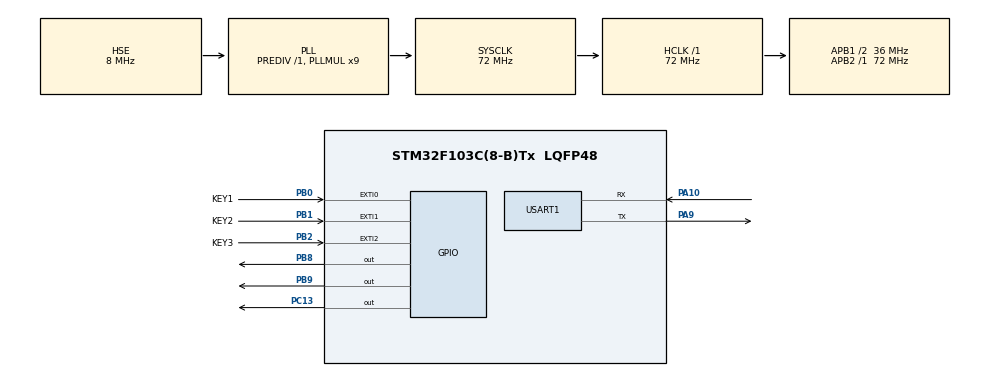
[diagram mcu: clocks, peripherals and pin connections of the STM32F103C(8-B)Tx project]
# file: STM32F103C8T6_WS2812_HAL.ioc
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Mcu.Family=STM32F1
Mcu.Name=STM32F103C(8-B)Tx
Mcu.Package=LQFP48
NVIC.EXTI0_IRQn=true\:0\:0\:false\:false\:true\:true\:true\:true
NVIC.EXTI1_IRQn=true\:0\:0\:false\:false\:true\:true\:true\:true
NVIC.EXTI2_IRQn=true\:0\:0\:false\:false\:true\:true\:true\:true
NVIC.PriorityGroup=NVIC_PRIORITYGROUP_4
PA10.Mode=Asynchronous
PA10.Signal=USART1_RX
PA9.Mode=Asynchronous
PA9.Signal=USART1_TX
PB0.GPIO_Label=KEY1
PB0.GPIO_ModeDefaultEXTI=GPIO_MODE_IT_FALLING
PB0.GPIO_PuPd=GPIO_PULLUP
PB0.Signal=GPXTI0
PB1.GPIO_Label=KEY2
PB1.GPIO_ModeDefaultEXTI=GPIO_MODE_IT_FALLING
PB1.GPIO_PuPd=GPIO_PULLUP
PB1.Signal=GPXTI1
PB2.GPIO_Label=KEY3
PB2.GPIO_ModeDefaultEXTI=GPIO_MODE_IT_FALLING
PB2.GPIO_PuPd=GPIO_PULLUP
PB2.Signal=GPXTI2
PB8.GPIO_PuPd=GPIO_PULLUP
PB8.GPIO_Speed=GPIO_SPEED_FREQ_HIGH
PB8.PinState=GPIO_PIN_SET
PB8.Signal=GPIO_Output
PB9.GPIO_PuPd=GPIO_PULLUP
PB9.GPIO_Speed=GPIO_SPEED_FREQ_HIGH
PB9.PinState=GPIO_PIN_SET
PB9.Signal=GPIO_Output
PC13-TAMPER-RTC.Signal=GPIO_Output
PD0-OSC_IN.Mode=HSE-External-Oscillator
PD0-OSC_IN.Signal=RCC_OSC_IN
PD1-OSC_OUT.Mode=HSE-External-Oscillator
PD1-OSC_OUT.Signal=RCC_OSC_OUT
ProjectManager.HeapSize=0x200
ProjectManager.StackSize=0x400
ProjectManager.TargetToolchain=MDK-ARM V5.32
RCC.AHBFreq_Value=72000000
RCC.APB1CLKDivider=RCC_HCLK_DIV2
RCC.APB1Freq_Value=36000000
RCC.APB1TimFreq_Value=72000000
RCC.APB2Freq_Value=72000000
RCC.APB2TimFreq_Value=72000000
RCC.HCLKFreq_Value=72000000
RCC.PLLMUL=RCC_PLL_MUL9
RCC.PLLSourceVirtual=RCC_PLLSOURCE_HSE
RCC.SYSCLKFreq_VALUE=72000000
RCC.SYSCLKSource=RCC_SYSCLKSOURCE_PLLCLK
RCC.USBFreq_Value=72000000
USART1.VirtualMode=VM_ASYNC
VP_SYS_VS_ND.Mode=No_Debug
board=custom

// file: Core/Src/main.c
/* USER CODE BEGIN Header */
/**
  ******************************************************************************
  * @file           : main.c
  * @brief          : Main program body
  ******************************************************************************
  * @attention
  *
  * Copyright (c) 2025 STMicroelectronics.
  * All rights reserved.
  *
  * This software is licensed under terms that can be found in the LICENSE file
  * in the root directory of this software component.
  * If no LICENSE file comes with this software, it is provided AS-IS.
  *
  ******************************************************************************
  */
/* USER CODE END Header */
#include "main.h"
#include "usart.h"
#include "gpio.h"

/* USER CODE BEGIN Includes */
#include "stdio.h"
#include <stdint.h>  // 使用uint8_t需包含的头文件
#include <stdlib.h>  // abs函数的头文件
#include <string.h>  // memset函数的标准头文件
/* USER CODE END Includes */

/* USER CODE BEGIN PTD */
// 针对32位无符号整数的别名
typedef uint32_t   u32;///32
typedef uint16_t   u16;///16
typedef uint8_t     u8;///8
/* USER CODE END PTD */

/* USER CODE BEGIN PD */
#define SCROLL_SPEED 100  //滚动速度（ms），值越小越快

// 宏定义颜色索引（对应8种颜色，便于调用）
#define COLOR_BLACK    0//// 黑色
#define COLOR_RED      1//// 红色
#define COLOR_GREEN    2//// 绿色
#define COLOR_BLUE     3//// 蓝色
#define COLOR_YELLOW   4//// 黄色
#define COLOR_PURPLE   5//// 紫色
#define COLOR_CYAN     6//// 青色
#define COLOR_WHITE    7//// 白色
/* USER CODE END PD */

/* USER CODE BEGIN PM */

char running_mode_str[20];  //显示模式字符串的存放数组

// 定义WS2812的GPIO端口/引脚全局变量，可在初始化函数中修改
GPIO_TypeDef *RGB_GPIO_PORT = GPIOB;    // 默认端口：GPIOB
uint16_t RGB_GPIO_PIN = GPIO_PIN_9;     // 默认引脚：PIN9

uint8_t target_leds[] = {0, 2, 5};  // 需要点亮的灯珠索引
uint8_t arr_len = sizeof(target_leds)/sizeof(target_leds[0]); // 数组长度（3）
uint8_t total_led = 8; // 假设总共有8个灯珠

uint8_t rainbow_running_flag = 0;  // 0=停止，1=运行
uint8_t rainbow_running_mode = 0;    //共有五种显示模式，0-4

// 定义8组RGB颜色数组（uint8_t类型，取值0x00~0xFF）
uint8_t rgb_color_array[8][3] = {
	{0x00, 0x00, 0x00},  //// 黑色
	{0xFF, 0x00, 0x00},  //// 红色
	{0x00, 0xFF, 0x00},  //// 绿色
	{0x00, 0x00, 0xFF},  //// 蓝色
	{0xFF, 0xFF, 0x00},  //// 黄色
	{0xFF, 0x00, 0xFF},  //// 紫色
	{0x00, 0xFF, 0xFF},  //// 青色
	{0xFF, 0xFF, 0xFF}   //// 白色
};

// 定义“灯珠索引+颜色”的结构体
typedef struct {
	uint8_t idx;    // 灯珠索引
	uint8_t red;    // 红色值
	uint8_t green;  // 绿色值
	uint8_t blue;   // 蓝色值
} LED_Color;

/* USER CODE END PM */

void SystemClock_Config(void);

/* USER CODE BEGIN 0 */
void delay_nus(u32 nus)  //72MHz晶振下的us级精确延时
{
	uint32_t Delay = nus * 10;
	do
  {
		__NOP();
   }
	while(Delay --);

}
/* USER CODE END PFP */

/* Private user code ---------------------------------------------------------*/
/* USER CODE BEGIN 0 */
//向WS2812写入1个字节（8位），严格匹配时序
void RGB_WriteByte(uint8_t in_data)
{
	uint8_t n = 0;
	uint8_t y = 0,z = 0;
	n = in_data;
	for(y = 0;y < 8;y++)
	{
		z = ((n<<y)&0x80);
		if(z)
		{
			HAL_GPIO_WritePin(RGB_GPIO_PORT,RGB_GPIO_PIN,GPIO_PIN_SET);
			delay_nus(2);
			HAL_GPIO_WritePin(RGB_GPIO_PORT,RGB_GPIO_PIN,GPIO_PIN_RESET);
			__nop();  // 1码

		}
		else
		{
			HAL_GPIO_WritePin(RGB_GPIO_PORT,RGB_GPIO_PIN,GPIO_PIN_SET);
			__nop();    //
			HAL_GPIO_WritePin(RGB_GPIO_PORT,RGB_GPIO_PIN,GPIO_PIN_RESET);
			delay_nus(2);  // 0码
		}
	}
}

/*  指定单个灯珠设置颜色（其余灯珠默认黑色） */
void RGB_ColorSet(uint8_t led_idx, uint8_t total_led, uint8_t t_red, uint8_t t_green, uint8_t t_blue)
{
	// 边界检查：防止灯珠索引越界
	if(led_idx >= total_led) return;
	// 步骤1：逐灯珠写入数据（WS2812需遍历所有灯珠）
	for(uint8_t i=0; i<total_led; i++)
	{
		if(i == led_idx)
		{
			// 目标灯珠：写入指定颜色（GRB顺序）
			RGB_WriteByte(t_green);  // 绿
			RGB_WriteByte(t_red);    // 红
			RGB_WriteByte(t_blue);   // 蓝
		}
		else
		{
			// 非目标灯珠：写入黑色（默认熄灭）
			RGB_WriteByte(0x00);
			RGB_WriteByte(0x00);
			RGB_WriteByte(0x00);
		}
	}
	// 步骤2：发送WS2812复位信号（必需，低电平≥280us）
	HAL_GPIO_WritePin(RGB_GPIO_PORT, RGB_GPIO_PIN, GPIO_PIN_RESET);
	delay_nus(300);  // 300us > 280us，确保复位成功
}

/*同时点亮的灯：指定多个灯珠索引，同时设置颜色（其余熄灭）*/
void RGB_MultiSameColorSet(uint8_t *led_idx_arr, uint8_t arr_len, uint8_t total_led,
                           uint8_t t_red, uint8_t t_green, uint8_t t_blue)
{
	// 遍历所有灯珠
	for(uint8_t i=0; i<total_led; i++)
	{
		uint8_t is_target = 0; // 标记当前灯珠是否是目标灯珠
		// 检查当前灯珠i是否在“需要点亮的索引数组”中
		for(uint8_t j=0; j<arr_len; j++)
		{
			if(i == led_idx_arr[j])
			{
					is_target = 1;
					break;
			}
		}

		if(is_target)
		{
			// 目标灯珠：写入指定颜色（WS2812是GRB顺序）
			RGB_WriteByte(t_green);
			RGB_WriteByte(t_red);
			RGB_WriteByte(t_blue);
		}
		else
		{
			// 非目标灯珠：写入黑色（熄灭）
			RGB_WriteByte(0x00);
			RGB_WriteByte(0x00);
			RGB_WriteByte(0x00);
		}
	}

	// 发送WS2812复位信号（必须）
	HAL_GPIO_WritePin(RGB_GPIO_PORT, RGB_GPIO_PIN, GPIO_PIN_RESET);
	delay_nus(300); // 复位时间≥280us
}

// 多灯、不同颜色的函数
void RGB_MultiDiffColorSet(LED_Color *led_color_arr, uint8_t arr_len, uint8_t total_led)
{
	if(rainbow_running_flag==1)
	{
		for(uint8_t i=0; i<total_led; i++)
		{
			uint8_t is_target = 0;
			uint8_t r=0, g=0, b=0;
			// 查找当前灯珠i对应的颜色
			for(uint8_t j=0; j<arr_len; j++)
			{
				if(i == led_color_arr[j].idx)
				{
					is_target = 1;
					r = led_color_arr[j].red;
					g = led_color_arr[j].green;
					b = led_color_arr[j].blue;
					break;
				}
			}
			// 写入颜色（目标灯珠用指定色，否则黑色）
			RGB_WriteByte(is_target ? g : 0);
			RGB_WriteByte(is_target ? r : 0);
			RGB_WriteByte(is_target ? b : 0);
		}
		// 发送复位信号
		HAL_GPIO_WritePin(RGB_GPIO_PORT, RGB_GPIO_PIN, GPIO_PIN_RESET);
		delay_nus(300);
	}
}

// 渐变滚动：核心用多灯异色函数（调用前面的RGB_MultiDiffColorSet）
void RGB_Scroll_Gradient(void)
{
	uint8_t center_led = 0; // 最亮的中心灯珠
	LED_Color led_color[total_led]; // 存储所有灯珠的颜色

	while(1)
	{
		if(rainbow_running_flag==1)
		{
				// 遍历所有灯珠，计算亮度（中心灯珠最亮，距离越远越暗）
			for(uint8_t i=0; i<total_led; i++)
			{
				led_color[i].idx = i;
				// 计算当前灯珠与中心灯珠的距离（绝对值）
				uint8_t distance = abs(i - center_led);
				// 亮度随距离衰减（距离≤3则亮，否则熄灭）
				uint8_t brightness = (distance <= 3) ? (255 - distance*35) : 0;
				// 设置渐变红色（可换成绿色/蓝色）
				led_color[i].red = 0;
				led_color[i].green = brightness;
				led_color[i].blue = 0;
			}
			// 写入渐变颜色
			RGB_MultiDiffColorSet(led_color, total_led, total_led);
			// 延时
			HAL_Delay(SCROLL_SPEED);
			// 中心灯珠偏移，循环
			center_led = (center_led + 1) % total_led;
		}
		else break;
	}
}

// HSV转RGB函数（用于生成渐变色）
void HSVtoRGB(uint16_t hue, uint8_t sat, uint8_t val, uint8_t *r, uint8_t *g, uint8_t *b)
{
	if (sat == 0)
	{           // 饱和度为0 → 灰度色
		*r = val;
		*g = val;
		*b = val;
		return;
	}
	uint8_t region = hue / 60;       // 色相分区（0-5）
	uint8_t remainder = hue % 60;     // 分区内偏移
	uint8_t p = (val * (255 - sat)) / 255;
	uint8_t q = (val * (255 - (sat * remainder) / 60)) / 255;
	uint8_t t = (val * (255 - (sat * (60 - remainder)) / 60)) / 255;
	// 按分区赋值RGB
	switch (region)
	{
		case 0: *r = val; *g = t; *b = p; break;
		case 1: *r = q; *g = val; *b = p; break;
		case 2: *r = p; *g = val; *b = t; break;
		case 3: *r = p; *g = q; *b = val; break;
		case 4: *r = t; *g = p; *b = val; break;
		default: *r = val; *g = p; *b = q; break;
  }
}

// 彩虹渐变滚动核心函数
void RGB_RainbowScroll(void)
{
	uint8_t center_led = 0;       // 滚动中心灯珠
	uint16_t base_hue = 0;        // 基础色相（控制整体彩虹偏移）
	LED_Color led_color[total_led];  // 所有灯珠的颜色配置

	while(1)
	{
		if(rainbow_running_flag==1)
		{
			for(uint8_t i = 0; i < total_led; i++)
			{
				led_color[i].idx = i;  // 绑定灯珠索引
				// 计算亮度（中心灯珠最亮，距离越远越暗）
				uint8_t distance = abs((int)i - (int)center_led);  // 距离绝对值
				uint8_t brightness = (distance <= 3) ? (255 - distance * 35) : 0;  // 亮度衰减

				// 计算当前灯珠的色相（彩虹效果核心）
				// 每个灯珠偏移20°色相，叠加基础色相实现整体颜色滚动
				uint16_t current_hue = (base_hue + i * 20) % 360;
				// HSV转RGB（饱和度255=纯色，brightness=明度）
				HSVtoRGB(current_hue, 255, brightness,
													 &led_color[i].red,
													 &led_color[i].green,
													 &led_color[i].blue);
			}
			// 更新所有灯珠显示
			RGB_MultiDiffColorSet(led_color, total_led, total_led);
			// 控制滚动速度和颜色偏移
			HAL_Delay(SCROLL_SPEED);          // 滚动延时
			center_led = (center_led + 1) % total_led; // 中心灯珠移动
			base_hue = (base_hue + 5) % 360;  // 整体色相偏移（颜色变化速度）
		}
		else break;
	}
}

void ALL_LED_Turnoff(void)
{
		// 熄灭所有灯珠
	for(uint8_t i=0; i<total_led; i++)
	{
			// 锟斤拷目锟斤拷锟斤拷椋盒达拷锟斤拷色锟斤拷熄锟斤拷
			RGB_WriteByte(0x00);
			RGB_WriteByte(0x00);
			RGB_WriteByte(0x00);
	}
		// 发送复位信号
	HAL_GPIO_WritePin(RGB_GPIO_PORT, RGB_GPIO_PIN, GPIO_PIN_RESET);
	HAL_Delay(1);  // 延时

	HAL_Delay(20);
}

/* USER CODE END 0 */

int main(void)
{

  /* MCU Configuration--------------------------------------------------------*/

  /* Reset of all peripherals, Initializes the Flash interface and the Systick. */
  HAL_Init();

  /* Configure the system clock */
  SystemClock_Config();

  /* Initialize all configured peripherals */
  MX_GPIO_Init();
  MX_USART1_UART_Init();
  /* USER CODE BEGIN 2 */

	LED_Color leds1[] = {
	{0,0xFF, 0xFF, 0x00},  // 0位置 黄色
	{2,0x00, 0x00, 0xFF},  // 2位置 蓝色
	{4,0x88, 0xFF, 0x88},  // 4位置 白色
	{6,0xFF, 0x00 , 0xFF}   // 6位置 紫色
	};

		LED_Color leds2[] = {
	{1,0x00, 0xFF, 0x00},  // 1位置 绿色
	{3,0xFF, 0x00, 0x00},   //3位置 红色
	{5,0xAA, 0xAA, 0xFF},   //5位置
	{7,0x00, 0xFF , 0xFF}  // 7位置 青色

	};

	HAL_UART_Transmit(&huart1,(uint8_t *)&"LEDs Display!\r\n",strlen("ALL LED OFF!\r\n"),10);
	sprintf(running_mode_str,"Display Mode = %d\r\n",rainbow_running_mode);
	HAL_UART_Transmit(&huart1,(uint8_t *)running_mode_str,strlen(running_mode_str),10);

  /* USER CODE END 2 */

  /* Infinite loop */
  /* USER CODE BEGIN WHILE */
  while (1)
  {
		if(rainbow_running_flag == 1)
		{

			if(rainbow_running_mode == 0)
			{
				RGB_GPIO_PORT = GPIOB;
				RGB_GPIO_PIN = GPIO_PIN_8;
				RGB_RainbowScroll();
			}
			else if(rainbow_running_mode == 1)
			{
				RGB_GPIO_PORT = GPIOB;
				RGB_GPIO_PIN = GPIO_PIN_9;
				RGB_Scroll_Gradient();
			}
			else if(rainbow_running_mode == 2)
			{
				RGB_GPIO_PORT = GPIOB;
				RGB_GPIO_PIN = GPIO_PIN_9;

				RGB_RainbowScroll();
			}
			else if(rainbow_running_mode == 3)
			{
				RGB_GPIO_PORT = GPIOB;
				RGB_GPIO_PIN = GPIO_PIN_8;
				RGB_Scroll_Gradient();
			}
			else if(rainbow_running_mode ==4)
			{

				RGB_GPIO_PORT = GPIOB;
				RGB_GPIO_PIN = GPIO_PIN_9;
				HAL_Delay(300);
				RGB_MultiDiffColorSet(leds1, 4, 8); // 0、2、4、6号灯亮，颜色不同
				HAL_Delay(300);
				RGB_MultiDiffColorSet(leds2, 4, 8); // 1、3、5、7号灯亮，颜色不同
			}
		}
		else
		{
			RGB_GPIO_PORT = GPIOB;
			RGB_GPIO_PIN = GPIO_PIN_8;
			ALL_LED_Turnoff();
			HAL_Delay(200);
			RGB_GPIO_PORT = GPIOB;
			RGB_GPIO_PIN = GPIO_PIN_9;
			ALL_LED_Turnoff();
		}

		HAL_Delay(200);

    /* USER CODE END WHILE */

  }
}

void SystemClock_Config(void)
{
  RCC_OscInitTypeDef RCC_OscInitStruct = {0};
  RCC_ClkInitTypeDef RCC_ClkInitStruct = {0};

  /** Initializes the RCC Oscillators according to the specified parameters
  * in the RCC_OscInitTypeDef structure.
  */
  RCC_OscInitStruct.OscillatorType = RCC_OSCILLATORTYPE_HSE;
  RCC_OscInitStruct.HSEState = RCC_HSE_ON;
  RCC_OscInitStruct.HSEPredivValue = RCC_HSE_PREDIV_DIV1;
  RCC_OscInitStruct.HSIState = RCC_HSI_ON;
  RCC_OscInitStruct.PLL.PLLState = RCC_PLL_ON;
  RCC_OscInitStruct.PLL.PLLSource = RCC_PLLSOURCE_HSE;
  RCC_OscInitStruct.PLL.PLLMUL = RCC_PLL_MUL9;
  if (HAL_RCC_OscConfig(&RCC_OscInitStruct) != HAL_OK)
  {
    Error_Handler();
  }

  /** Initializes the CPU, AHB and APB buses clocks
  */
  RCC_ClkInitStruct.ClockType = RCC_CLOCKTYPE_HCLK|RCC_CLOCKTYPE_SYSCLK
                              |RCC_CLOCKTYPE_PCLK1|RCC_CLOCKTYPE_PCLK2;
  RCC_ClkInitStruct.SYSCLKSource = RCC_SYSCLKSOURCE_PLLCLK;
  RCC_ClkInitStruct.AHBCLKDivider = RCC_SYSCLK_DIV1;
  RCC_ClkInitStruct.APB1CLKDivider = RCC_HCLK_DIV2;
  RCC_ClkInitStruct.APB2CLKDivider = RCC_HCLK_DIV1;

  if (HAL_RCC_ClockConfig(&RCC_ClkInitStruct, FLASH_LATENCY_2) != HAL_OK)
  {
    Error_Handler();
  }
}

/* USER CODE BEGIN 4 */
// 外部GPIO按键中断回调函数
void HAL_GPIO_EXTI_Callback(uint16_t GPIO_Pin)
{
    if(GPIO_Pin == KEY1_Pin)  // KEY1_PIN表示 开始
    {
        if(HAL_GPIO_ReadPin(KEY1_GPIO_Port, KEY1_Pin) == GPIO_PIN_RESET)  //确定是KEY1按键按下
        {
           rainbow_running_flag = 1;  // 显示标志位置1
					HAL_UART_Transmit(&huart1,(uint8_t *)&"Display ON!\r\n",strlen("Display ON!\r\n"),10);
        }
    }

		if(GPIO_Pin == KEY2_Pin) // KEY2_PIN表示 停止
    {
        if(HAL_GPIO_ReadPin(KEY2_GPIO_Port, KEY2_Pin) == GPIO_PIN_RESET)  //确定是KEY2按键按下
        {
           rainbow_running_flag = 0;  // 显示标志位置0
					HAL_UART_Transmit(&huart1,(uint8_t *)&"ALL LEDs OFF!\r\n",strlen("ALL LEDs OFF!\r\n"),10);
        }
    }

		if(GPIO_Pin == KEY3_Pin)  // KEY3_PIN表示 模式切换
    {
        if(HAL_GPIO_ReadPin(KEY3_GPIO_Port, KEY3_Pin) == GPIO_PIN_RESET)  // 确定是KEY3按键按下
        {
           rainbow_running_mode += 1;  // 五种显示模式
					if(rainbow_running_mode>4)
						rainbow_running_mode = 0;
					sprintf(running_mode_str,"Display Mode = %d\r\n",rainbow_running_mode);
					HAL_UART_Transmit(&huart1,(uint8_t *)running_mode_str,strlen(running_mode_str),10);
        }
    }
}
/* USER CODE END 4 */

void Error_Handler(void)
{
  __disable_irq();
  while (1)
  {
  }
}
